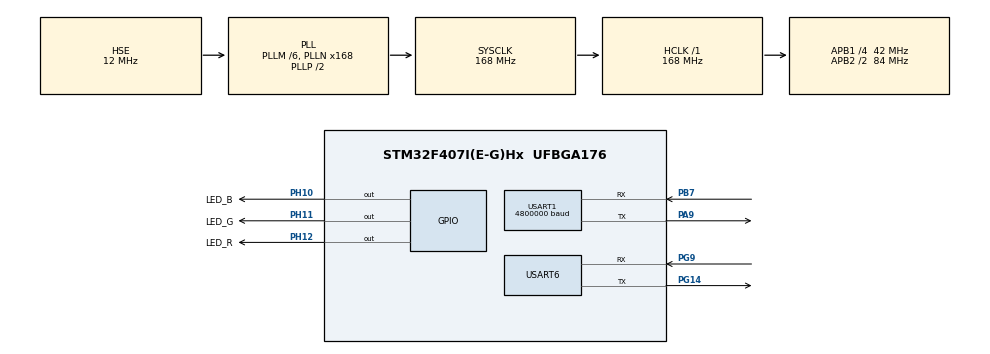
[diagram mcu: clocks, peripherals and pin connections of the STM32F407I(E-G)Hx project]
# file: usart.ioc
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Dma.Request0=USART1_TX
Dma.Request1=USART1_RX
Dma.Request2=USART6_RX
Dma.Request3=USART6_TX
Dma.USART1_RX.1.Direction=DMA_PERIPH_TO_MEMORY
Dma.USART1_RX.1.FIFOMode=DMA_FIFOMODE_DISABLE
Dma.USART1_RX.1.Instance=DMA2_Stream5
Dma.USART1_RX.1.MemDataAlignment=DMA_MDATAALIGN_BYTE
Dma.USART1_RX.1.MemInc=DMA_MINC_ENABLE
Dma.USART1_RX.1.Mode=DMA_NORMAL
Dma.USART1_RX.1.PeriphDataAlignment=DMA_PDATAALIGN_BYTE
Dma.USART1_RX.1.PeriphInc=DMA_PINC_DISABLE
Dma.USART1_RX.1.Priority=DMA_PRIORITY_VERY_HIGH
Dma.USART1_TX.0.Direction=DMA_MEMORY_TO_PERIPH
Dma.USART1_TX.0.FIFOMode=DMA_FIFOMODE_DISABLE
Dma.USART1_TX.0.Instance=DMA2_Stream7
Dma.USART1_TX.0.MemDataAlignment=DMA_MDATAALIGN_BYTE
Dma.USART1_TX.0.MemInc=DMA_MINC_ENABLE
Dma.USART1_TX.0.Mode=DMA_NORMAL
Dma.USART1_TX.0.PeriphDataAlignment=DMA_PDATAALIGN_BYTE
Dma.USART1_TX.0.PeriphInc=DMA_PINC_DISABLE
Dma.USART1_TX.0.Priority=DMA_PRIORITY_VERY_HIGH
Dma.USART6_RX.2.Direction=DMA_PERIPH_TO_MEMORY
Dma.USART6_RX.2.FIFOMode=DMA_FIFOMODE_DISABLE
Dma.USART6_RX.2.Instance=DMA2_Stream1
Dma.USART6_RX.2.MemDataAlignment=DMA_MDATAALIGN_BYTE
Dma.USART6_RX.2.MemInc=DMA_MINC_ENABLE
Dma.USART6_RX.2.Mode=DMA_NORMAL
Dma.USART6_RX.2.PeriphDataAlignment=DMA_PDATAALIGN_BYTE
Dma.USART6_RX.2.PeriphInc=DMA_PINC_DISABLE
Dma.USART6_RX.2.Priority=DMA_PRIORITY_VERY_HIGH
Dma.USART6_TX.3.Direction=DMA_MEMORY_TO_PERIPH
Dma.USART6_TX.3.FIFOMode=DMA_FIFOMODE_DISABLE
Dma.USART6_TX.3.Instance=DMA2_Stream6
Dma.USART6_TX.3.MemDataAlignment=DMA_MDATAALIGN_BYTE
Dma.USART6_TX.3.MemInc=DMA_MINC_ENABLE
Dma.USART6_TX.3.Mode=DMA_NORMAL
Dma.USART6_TX.3.PeriphDataAlignment=DMA_PDATAALIGN_BYTE
Dma.USART6_TX.3.PeriphInc=DMA_PINC_DISABLE
Dma.USART6_TX.3.Priority=DMA_PRIORITY_VERY_HIGH
Mcu.Family=STM32F4
Mcu.Name=STM32F407I(E-G)Hx
Mcu.Package=UFBGA176
NVIC.DMA2_Stream1_IRQn=true\:5\:0\:true\:false\:true\:false\:true\:true
NVIC.DMA2_Stream5_IRQn=true\:5\:0\:true\:false\:true\:false\:true\:true
NVIC.DMA2_Stream6_IRQn=true\:5\:0\:true\:false\:true\:false\:true\:true
NVIC.DMA2_Stream7_IRQn=true\:5\:0\:true\:false\:true\:false\:true\:true
NVIC.PriorityGroup=NVIC_PRIORITYGROUP_4
NVIC.USART1_IRQn=true\:5\:0\:true\:false\:true\:true\:true\:true
NVIC.USART6_IRQn=true\:0\:0\:false\:false\:false\:true\:true\:true
PA13.Mode=Serial_Wire
PA13.Signal=SYS_JTMS-SWDIO
PA14.Mode=Serial_Wire
PA14.Signal=SYS_JTCK-SWCLK
PA9.Mode=Asynchronous
PA9.Signal=USART1_TX
PB7.Mode=Asynchronous
PB7.Signal=USART1_RX
PD5.Signal=USART2_TX
PD6.Signal=USART2_RX
PG14.Mode=Asynchronous
PG14.Signal=USART6_TX
PG9.Mode=Asynchronous
PG9.Signal=USART6_RX
PH0-OSC_IN.Mode=HSE-External-Oscillator
PH0-OSC_IN.Signal=RCC_OSC_IN
PH1-OSC_OUT.Mode=HSE-External-Oscillator
PH1-OSC_OUT.Signal=RCC_OSC_OUT
PH10.GPIO_Label=LED_B
PH10.GPIO_PuPd=GPIO_PULLUP
PH10.GPIO_Speed=GPIO_SPEED_FREQ_HIGH
PH10.PinState=GPIO_PIN_SET
PH10.Signal=GPIO_Output
PH11.GPIO_Label=LED_G
PH11.GPIO_PuPd=GPIO_PULLUP
PH11.GPIO_Speed=GPIO_SPEED_FREQ_HIGH
PH11.PinState=GPIO_PIN_SET
PH11.Signal=GPIO_Output
PH12.GPIO_Label=LED_R
PH12.GPIO_PuPd=GPIO_PULLUP
PH12.GPIO_Speed=GPIO_SPEED_FREQ_HIGH
PH12.PinState=GPIO_PIN_SET
PH12.Signal=GPIO_Output
ProjectManager.HeapSize=0x200
ProjectManager.StackSize=0x400
ProjectManager.TargetToolchain=MDK-ARM V5
RCC.48MHZClocksFreq_Value=84000000
RCC.AHBFreq_Value=168000000
RCC.APB1CLKDivider=RCC_HCLK_DIV4
RCC.APB1Freq_Value=42000000
RCC.APB1TimFreq_Value=84000000
RCC.APB2CLKDivider=RCC_HCLK_DIV2
RCC.APB2Freq_Value=84000000
RCC.APB2TimFreq_Value=168000000
RCC.CortexFreq_Value=168000000
RCC.HCLKFreq_Value=168000000
RCC.HSE_VALUE=12000000
RCC.HSI_VALUE=16000000
RCC.LSE_VALUE=32768
RCC.PLLM=6
RCC.PLLN=168
RCC.PLLSourceVirtual=RCC_PLLSOURCE_HSE
RCC.SYSCLKFreq_VALUE=168000000
RCC.SYSCLKSource=RCC_SYSCLKSOURCE_PLLCLK
RCC.VCOOutputFreq_Value=336000000
USART1.BaudRate=4800000
USART1.VirtualMode=VM_ASYNC
USART6.VirtualMode=VM_ASYNC
board=custom

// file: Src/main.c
/* USER CODE BEGIN Header */
/**
  ******************************************************************************
  * @file           : main.c
  * @brief          : Main program body
  ******************************************************************************
  * @attention
  *
  * <h2><center>&copy; Copyright (c) 2019 STMicroelectronics.
  * All rights reserved.</center></h2>
  *
  * This software component is licensed by ST under BSD 3-Clause license,
  * the "License"; You may not use this file except in compliance with the
  * License. You may obtain a copy of the License at:
  *                        opensource.org/licenses/BSD-3-Clause
  *
  ******************************************************************************
  */
/* USER CODE END Header */
#include "main.h"
#include "dma.h"
#include "usart.h"
#include "gpio.h"

/* USER CODE BEGIN Includes */
#include "unitreeA1_cmd.h"
/* USER CODE END Includes */

void SystemClock_Config(void);

/* USER CODE BEGIN 0 */

//void USART1_IRQHandler(void)
//{
//    volatile uint8_t receive;
//    //receive interrupt 接收中断
//    if(huart1.Instance->SR & UART_FLAG_RXNE)
//    {
//        receive = huart1.Instance->DR;
//        HAL_GPIO_TogglePin(LED_R_GPIO_Port, LED_R_Pin);

//    }
//    //idle interrupt 空闲中断
//    else if(huart1.Instance->SR & UART_FLAG_IDLE)
//    {
//        receive = huart1.Instance->DR;
//        HAL_GPIO_WritePin(LED_R_GPIO_Port, LED_R_Pin, GPIO_PIN_RESET);
//    }

//}

//void USART6_IRQHandler(void)
//{

//    volatile uint8_t receive;
//    //receive interrupt 接收中断
//    if(huart6.Instance->SR & UART_FLAG_RXNE)
//    {
//        receive = huart6.Instance->DR;
//        HAL_GPIO_TogglePin(LED_G_GPIO_Port, LED_G_Pin);

//    }
//    //idle interrupt 空闲中断
//    else if(huart6.Instance->SR & UART_FLAG_IDLE)
//    {
//        receive = huart6.Instance->DR;
//        HAL_GPIO_WritePin(LED_G_GPIO_Port, LED_G_Pin, GPIO_PIN_RESET);
//    }

//}

/* USER CODE END 0 */

int main(void)
{

  /* MCU Configuration--------------------------------------------------------*/

  /* Reset of all peripherals, Initializes the Flash interface and the Systick. */
  HAL_Init();

  /* Configure the system clock */
  SystemClock_Config();

  /* Initialize all configured peripherals */
  MX_GPIO_Init();
  MX_DMA_Init();
  MX_USART1_UART_Init();
  MX_USART6_UART_Init();
  /* USER CODE BEGIN 2 */

    HAL_GPIO_WritePin(LED_R_GPIO_Port, LED_R_Pin, GPIO_PIN_RESET);
    HAL_GPIO_WritePin(LED_G_GPIO_Port, LED_G_Pin, GPIO_PIN_RESET);
    HAL_GPIO_WritePin(LED_B_GPIO_Port, LED_B_Pin, GPIO_PIN_RESET);
    //enable receive interrupt and idle interrupt
    //使能接收中断和空闲中断
    __HAL_UART_ENABLE_IT(&huart1, UART_IT_RXNE);  //receive interrupt
    __HAL_UART_ENABLE_IT(&huart1, UART_IT_IDLE);  //idle interrupt
    __HAL_UART_ENABLE_IT(&huart6, UART_IT_RXNE);  //receive interrupt
    __HAL_UART_ENABLE_IT(&huart6, UART_IT_IDLE);  //idle interrupt

  /* USER CODE END 2 */

  /* Infinite loop */
    while (1)
    {

    /* USER CODE BEGIN 3 */
        HAL_GPIO_WritePin(LED_R_GPIO_Port, LED_R_Pin, GPIO_PIN_SET);
        HAL_GPIO_WritePin(LED_G_GPIO_Port, LED_G_Pin, GPIO_PIN_SET);
        HAL_GPIO_WritePin(LED_B_GPIO_Port, LED_B_Pin, GPIO_PIN_SET);
        HAL_Delay(100);
        //send data by usart
        //串口发送数据
        //        HAL_UART_Transmit(&huart1, "RoboMaster\r\n", 12, 100);
        //        HAL_Delay(100);
        //        HAL_UART_Transmit(&huart6, "RoboMaster\r\n", 12, 100);
        //        HAL_Delay(100);
        modfiy_cmd(&cmd_left, 0, (float) 1000 / 660 * -70, 0.006, 1.0);
        unitreeA1_rxtx(&huart1);
        HAL_GPIO_WritePin(LED_R_GPIO_Port, LED_R_Pin, GPIO_PIN_RESET);
        HAL_GPIO_WritePin(LED_G_GPIO_Port, LED_G_Pin, GPIO_PIN_RESET);
        HAL_GPIO_WritePin(LED_B_GPIO_Port, LED_B_Pin, GPIO_PIN_RESET);
        HAL_Delay(100);
                modfiy_cmd(&cmd_left, 0, (float) 1000 / 660 * 70, 0.006, 1.0);
        unitreeA1_rxtx(&huart1);
    }
  /* USER CODE END 3 */
}

void SystemClock_Config(void)
{
  RCC_OscInitTypeDef RCC_OscInitStruct = {0};
  RCC_ClkInitTypeDef RCC_ClkInitStruct = {0};

  /** Configure the main internal regulator output voltage
  */
  __HAL_RCC_PWR_CLK_ENABLE();
  __HAL_PWR_VOLTAGESCALING_CONFIG(PWR_REGULATOR_VOLTAGE_SCALE1);

  /** Initializes the RCC Oscillators according to the specified parameters
  * in the RCC_OscInitTypeDef structure.
  */
  RCC_OscInitStruct.OscillatorType = RCC_OSCILLATORTYPE_HSE;
  RCC_OscInitStruct.HSEState = RCC_HSE_ON;
  RCC_OscInitStruct.PLL.PLLState = RCC_PLL_ON;
  RCC_OscInitStruct.PLL.PLLSource = RCC_PLLSOURCE_HSE;
  RCC_OscInitStruct.PLL.PLLM = 6;
  RCC_OscInitStruct.PLL.PLLN = 168;
  RCC_OscInitStruct.PLL.PLLP = RCC_PLLP_DIV2;
  RCC_OscInitStruct.PLL.PLLQ = 4;
  if (HAL_RCC_OscConfig(&RCC_OscInitStruct) != HAL_OK)
  {
    Error_Handler();
  }

  /** Initializes the CPU, AHB and APB buses clocks
  */
  RCC_ClkInitStruct.ClockType = RCC_CLOCKTYPE_HCLK|RCC_CLOCKTYPE_SYSCLK
                              |RCC_CLOCKTYPE_PCLK1|RCC_CLOCKTYPE_PCLK2;
  RCC_ClkInitStruct.SYSCLKSource = RCC_SYSCLKSOURCE_PLLCLK;
  RCC_ClkInitStruct.AHBCLKDivider = RCC_SYSCLK_DIV1;
  RCC_ClkInitStruct.APB1CLKDivider = RCC_HCLK_DIV4;
  RCC_ClkInitStruct.APB2CLKDivider = RCC_HCLK_DIV2;

  if (HAL_RCC_ClockConfig(&RCC_ClkInitStruct, FLASH_LATENCY_5) != HAL_OK)
  {
    Error_Handler();
  }
}

void Error_Handler(void)
{
}
